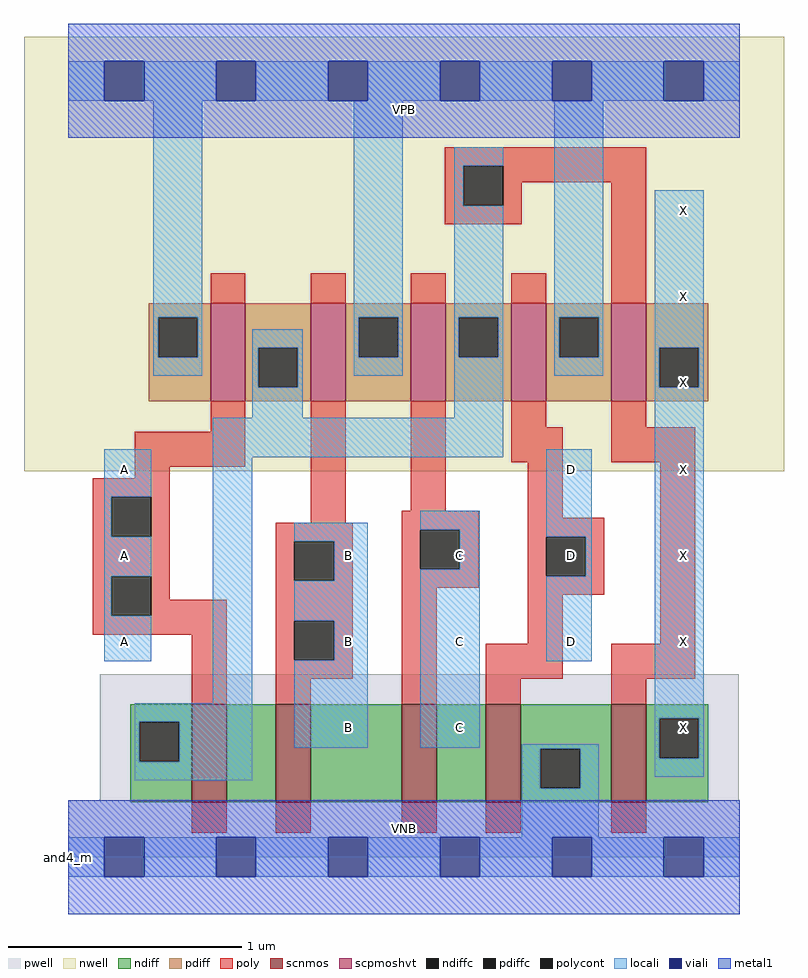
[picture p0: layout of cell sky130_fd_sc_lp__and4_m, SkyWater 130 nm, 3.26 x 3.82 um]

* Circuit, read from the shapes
.subckt sky130_fd_sc_lp__and4_m A B C D VGND VNB VPB VPWR X
XM1 n1 A n2 VNB sky130_fd_pr__nfet_01v8 w=0.42 l=0.15
XM2 n3 B n1 VNB sky130_fd_pr__nfet_01v8 w=0.42 l=0.15
XM3 n4 C n3 VNB sky130_fd_pr__nfet_01v8 w=0.42 l=0.15
XM4 VGND D n4 VNB sky130_fd_pr__nfet_01v8 w=0.42 l=0.15
XM5 X n2 VGND VNB sky130_fd_pr__nfet_01v8 w=0.42 l=0.15
XM6 n2 A VPWR VPB sky130_fd_pr__pfet_01v8_hvt w=0.42 l=0.15
XM7 VPWR B n2 VPB sky130_fd_pr__pfet_01v8_hvt w=0.42 l=0.15
XM8 n2 C VPWR VPB sky130_fd_pr__pfet_01v8_hvt w=0.42 l=0.15
XM9 VPWR D n2 VPB sky130_fd_pr__pfet_01v8_hvt w=0.42 l=0.15
XM10 X n2 VPWR VPB sky130_fd_pr__pfet_01v8_hvt w=0.42 l=0.15
.ends

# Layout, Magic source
magic
tech sky130A
magscale 1 2
<< nwell >>
rect -38 331 614 704
<< pwell >>
rect 27 49 575 157
rect 0 0 576 49
<< scnmos >>
rect 106 47 136 131
rect 178 47 208 131
rect 286 47 316 131
rect 358 47 388 131
rect 466 47 496 131
<< scpmoshvt >>
rect 122 391 152 475
rect 208 391 238 475
rect 294 391 324 475
rect 380 391 410 475
rect 466 391 496 475
<< ndiff >>
rect 53 116 106 131
rect 53 82 61 116
rect 95 82 106 116
rect 53 47 106 82
rect 136 47 178 131
rect 208 47 286 131
rect 316 47 358 131
rect 388 93 466 131
rect 388 59 405 93
rect 439 59 466 93
rect 388 47 466 59
rect 496 119 549 131
rect 496 85 507 119
rect 541 85 549 119
rect 496 47 549 85
<< pdiff >>
rect 69 463 122 475
rect 69 429 77 463
rect 111 429 122 463
rect 69 391 122 429
rect 152 437 208 475
rect 152 403 163 437
rect 197 403 208 437
rect 152 391 208 403
rect 238 463 294 475
rect 238 429 249 463
rect 283 429 294 463
rect 238 391 294 429
rect 324 463 380 475
rect 324 429 335 463
rect 369 429 380 463
rect 324 391 380 429
rect 410 463 466 475
rect 410 429 421 463
rect 455 429 466 463
rect 410 391 466 429
rect 496 437 549 475
rect 496 403 507 437
rect 541 403 549 437
rect 496 391 549 403
<< ndiffc >>
rect 61 82 95 116
rect 405 59 439 93
rect 507 85 541 119
<< pdiffc >>
rect 77 429 111 463
rect 163 403 197 437
rect 249 429 283 463
rect 335 429 369 463
rect 421 429 455 463
rect 507 403 541 437
<< poly >>
rect 323 593 496 609
rect 323 559 339 593
rect 373 579 496 593
rect 373 559 389 579
rect 323 543 389 559
rect 122 475 152 501
rect 208 475 238 501
rect 294 475 324 501
rect 380 475 410 501
rect 466 475 496 579
rect 122 365 152 391
rect 57 335 152 365
rect 57 325 87 335
rect 21 309 87 325
rect 21 275 37 309
rect 71 275 87 309
rect 208 287 238 391
rect 294 297 324 391
rect 380 369 410 391
rect 466 369 496 391
rect 380 339 424 369
rect 466 339 538 369
rect 21 241 87 275
rect 21 207 37 241
rect 71 221 87 241
rect 178 271 244 287
rect 178 237 194 271
rect 228 237 244 271
rect 71 207 136 221
rect 21 191 136 207
rect 106 131 136 191
rect 178 203 244 237
rect 178 169 194 203
rect 228 169 244 203
rect 178 153 244 169
rect 286 281 352 297
rect 286 247 302 281
rect 336 247 352 281
rect 286 231 352 247
rect 394 291 424 339
rect 394 275 460 291
rect 394 241 410 275
rect 444 241 460 275
rect 178 131 208 153
rect 286 131 316 231
rect 394 225 460 241
rect 394 183 424 225
rect 508 183 538 339
rect 358 153 424 183
rect 466 153 538 183
rect 358 131 388 153
rect 466 131 496 153
rect 106 21 136 47
rect 178 21 208 47
rect 286 21 316 47
rect 358 21 388 47
rect 466 21 496 47
<< polycont >>
rect 339 559 373 593
rect 37 275 71 309
rect 37 207 71 241
rect 194 237 228 271
rect 194 169 228 203
rect 302 247 336 281
rect 410 241 444 275
<< locali >>
rect 0 649 31 683
rect 65 649 127 683
rect 161 649 223 683
rect 257 649 319 683
rect 353 649 415 683
rect 449 649 511 683
rect 545 649 576 683
rect 73 463 115 649
rect 73 429 77 463
rect 111 429 115 463
rect 245 463 287 649
rect 73 413 115 429
rect 158 437 201 453
rect 158 403 163 437
rect 197 403 201 437
rect 245 429 249 463
rect 283 429 287 463
rect 245 413 287 429
rect 331 593 373 609
rect 331 559 339 593
rect 331 463 373 559
rect 331 429 335 463
rect 369 429 373 463
rect 158 377 201 403
rect 331 377 373 429
rect 417 463 459 649
rect 417 429 421 463
rect 455 429 459 463
rect 417 413 459 429
rect 503 437 545 572
rect 31 309 71 350
rect 31 275 37 309
rect 31 241 71 275
rect 31 207 37 241
rect 31 168 71 207
rect 124 343 373 377
rect 503 403 507 437
rect 541 403 545 437
rect 124 132 158 343
rect 57 116 158 132
rect 57 82 61 116
rect 95 82 158 116
rect 194 271 257 287
rect 228 237 257 271
rect 194 203 257 237
rect 228 169 257 203
rect 194 94 257 169
rect 302 281 353 297
rect 336 247 353 281
rect 302 94 353 247
rect 410 275 449 350
rect 444 241 449 275
rect 410 168 449 241
rect 503 119 545 403
rect 57 66 158 82
rect 389 93 455 97
rect 389 59 405 93
rect 439 59 455 93
rect 503 85 507 119
rect 541 85 545 119
rect 503 69 545 85
rect 389 17 455 59
rect 0 -17 31 17
rect 65 -17 127 17
rect 161 -17 223 17
rect 257 -17 319 17
rect 353 -17 415 17
rect 449 -17 511 17
rect 545 -17 576 17
<< viali >>
rect 31 649 65 683
rect 127 649 161 683
rect 223 649 257 683
rect 319 649 353 683
rect 415 649 449 683
rect 511 649 545 683
rect 31 -17 65 17
rect 127 -17 161 17
rect 223 -17 257 17
rect 319 -17 353 17
rect 415 -17 449 17
rect 511 -17 545 17
<< metal1 >>
rect 0 683 576 715
rect 0 649 31 683
rect 65 649 127 683
rect 161 649 223 683
rect 257 649 319 683
rect 353 649 415 683
rect 449 649 511 683
rect 545 649 576 683
rect 0 617 576 649
rect 0 17 576 49
rect 0 -17 31 17
rect 65 -17 127 17
rect 161 -17 223 17
rect 257 -17 319 17
rect 353 -17 415 17
rect 449 -17 511 17
rect 545 -17 576 17
rect 0 -49 576 -17
<< labels >>
flabel pwell s 0 0 576 49 0 FreeSans 200 0 0 0 VNB
port 6 nsew ground bidirectional
flabel nwell s 0 617 576 666 0 FreeSans 200 0 0 0 VPB
port 7 nsew power bidirectional
rlabel comment s 0 0 0 0 4 and4_m
flabel metal1 s 0 617 576 666 0 FreeSans 340 0 0 0 VPWR
port 8 nsew power bidirectional
flabel metal1 s 0 0 576 49 0 FreeSans 340 0 0 0 VGND
port 5 nsew ground bidirectional
flabel locali s 223 94 257 128 0 FreeSans 340 0 0 0 B
port 2 nsew signal input
flabel locali s 223 168 257 202 0 FreeSans 340 0 0 0 B
port 2 nsew signal input
flabel locali s 223 242 257 276 0 FreeSans 340 0 0 0 B
port 2 nsew signal input
flabel locali s 319 94 353 128 0 FreeSans 340 0 0 0 C
port 3 nsew signal input
flabel locali s 319 168 353 202 0 FreeSans 340 0 0 0 C
port 3 nsew signal input
flabel locali s 319 242 353 276 0 FreeSans 340 0 0 0 C
port 3 nsew signal input
flabel locali s 415 168 449 202 0 FreeSans 340 0 0 0 D
port 4 nsew signal input
flabel locali s 415 242 449 276 0 FreeSans 340 0 0 0 D
port 4 nsew signal input
flabel locali s 415 316 449 350 0 FreeSans 340 0 0 0 D
port 4 nsew signal input
flabel locali s 31 168 65 202 0 FreeSans 340 0 0 0 A
port 1 nsew signal input
flabel locali s 31 242 65 276 0 FreeSans 340 0 0 0 A
port 1 nsew signal input
flabel locali s 31 316 65 350 0 FreeSans 340 0 0 0 A
port 1 nsew signal input
flabel locali s 511 94 545 128 0 FreeSans 340 0 0 0 X
port 9 nsew signal output
flabel locali s 511 168 545 202 0 FreeSans 340 0 0 0 X
port 9 nsew signal output
flabel locali s 511 242 545 276 0 FreeSans 340 0 0 0 X
port 9 nsew signal output
flabel locali s 511 316 545 350 0 FreeSans 340 0 0 0 X
port 9 nsew signal output
flabel locali s 511 390 545 424 0 FreeSans 340 0 0 0 X
port 9 nsew signal output
flabel locali s 511 464 545 498 0 FreeSans 340 0 0 0 X
port 9 nsew signal output
flabel locali s 511 538 545 572 0 FreeSans 340 0 0 0 X
port 9 nsew signal output
<< properties >>
string LEFsite unit
string LEFclass CORE
string FIXED_BBOX 0 0 576 666
string GDS_FILE $PDKPATH/libs.ref/sky130_fd_sc_lp/gds/sky130_fd_sc_lp.gds
string LEFsymmetry X Y R90
string GDS_END 6262798
string GDS_START 6255752
<< end >>
